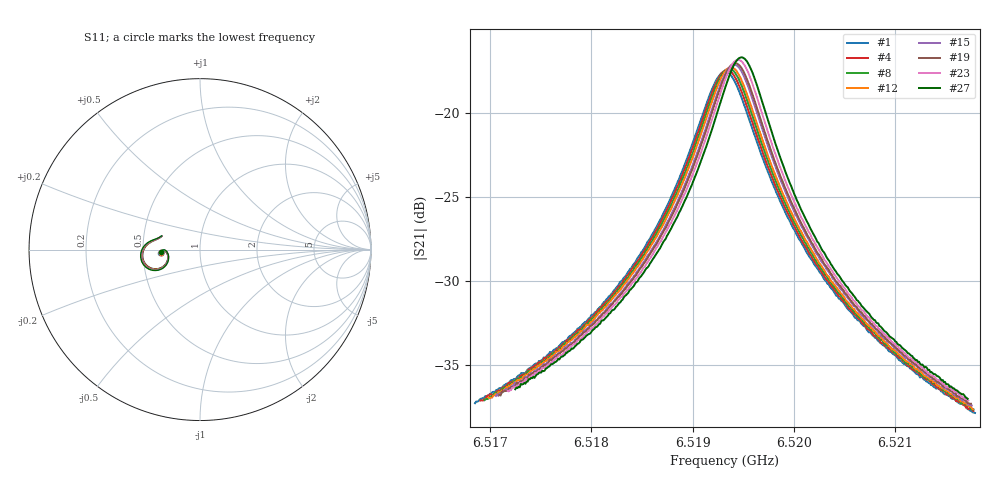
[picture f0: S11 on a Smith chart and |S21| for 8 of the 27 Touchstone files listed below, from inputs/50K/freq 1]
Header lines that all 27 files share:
#  HZ  S  RI  R  50.00
! Rohde & Schwarz Vector Network Analyzer
! Rohde-Schwarz,ZNB20-2Port,1311601062101988,3.16
! freq[Hz]  re:S11  im:S11  re:S21  im:S21  re:S12  im:S12  re:S22  im:S22
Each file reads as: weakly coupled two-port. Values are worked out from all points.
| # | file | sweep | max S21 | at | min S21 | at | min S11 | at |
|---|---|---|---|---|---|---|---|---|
| 1 | 169_1_48.0987_50.0329132_79887.078_.s2p | 6.516853 GHz to 6.521785 GHz | -17.55 dB | 6.519319 GHz | -37.9 dB | 6.521785 GHz | -14.3 dB | 6.518888 GHz |
| 2 | 170_1_48.1014_50.0360565_79337.766_.s2p | 6.516854 GHz to 6.521786 GHz | -17.54 dB | 6.51932 GHz | -37.9 dB | 6.521774 GHz | -14.3 dB | 6.518901 GHz |
| 3 | 181_1_48.101_50.0469627_72766.07_.s2p | 6.516886 GHz to 6.521778 GHz | -17.48 dB | 6.519332 GHz | -37.7 dB | 6.521754 GHz | -14.4 dB | 6.518904 GHz |
| 4 | 186_1_48.1004_50.0531044_69630.68_.s2p | 6.516907 GHz to 6.521769 GHz | -17.46 dB | 6.519338 GHz | -37.7 dB | 6.521769 GHz | -14.4 dB | 6.518912 GHz |
| 5 | 189_1_48.1019_50.0570412_67882.438_.s2p | 6.516908 GHz to 6.521774 GHz | -17.45 dB | 6.519341 GHz | -37.8 dB | 6.521774 GHz | -14.4 dB | 6.518916 GHz |
| 6 | 195_1_48.1_50.062851_64227.723_.s2p | 6.51692 GHz to 6.521777 GHz | -17.41 dB | 6.519349 GHz | -37.7 dB | 6.521777 GHz | -14.4 dB | 6.518936 GHz |
| 7 | 200_1_48.0977_50.0690041_61371.539_.s2p | 6.516939 GHz to 6.521772 GHz | -17.38 dB | 6.519355 GHz | -37.7 dB | 6.521772 GHz | -14.4 dB | 6.518908 GHz |
| 8 | 202_1_48.1014_50.0723381_60212.98_.s2p | 6.516947 GHz to 6.52177 GHz | -17.37 dB | 6.519358 GHz | -37.6 dB | 6.521758 GHz | -14.4 dB | 6.518948 GHz |
| 9 | 206_1_48.1053_50.0781021_57666.379_.s2p | 6.516953 GHz to 6.521774 GHz | -17.35 dB | 6.519363 GHz | -37.7 dB | 6.521774 GHz | -14.4 dB | 6.518929 GHz |
| 10 | 208_1_48.1005_50.0806808_56517.836_.s2p | 6.516958 GHz to 6.521774 GHz | -17.34 dB | 6.519366 GHz | -37.6 dB | 6.521762 GHz | -14.4 dB | 6.518945 GHz |
| 11 | 211_1_48.1058_50.0825424_54809.672_.s2p | 6.516967 GHz to 6.521773 GHz | -17.33 dB | 6.51937 GHz | -37.6 dB | 6.521749 GHz | -14.4 dB | 6.518937 GHz |
| 12 | 215_1_48.0964_50.0891418_52273.777_.s2p | 6.516986 GHz to 6.521765 GHz | -17.30 dB | 6.519375 GHz | -37.6 dB | 6.521765 GHz | -14.4 dB | 6.518969 GHz |
| 13 | 225_1_48.0986_50.1012421_46200.859_.s2p | 6.51701 GHz to 6.521765 GHz | -17.24 dB | 6.519388 GHz | -37.6 dB | 6.521765 GHz | -14.4 dB | 6.51896 GHz |
| 14 | 234_1_48.099_50.1133881_40798.293_.s2p | 6.517035 GHz to 6.521763 GHz | -17.19 dB | 6.519399 GHz | -37.5 dB | 6.521763 GHz | -14.4 dB | 6.518973 GHz |
| 15 | 241_1_48.1035_50.1202812_36812.961_.s2p | 6.51706 GHz to 6.521752 GHz | -17.13 dB | 6.519406 GHz | -37.4 dB | 6.521752 GHz | -14.4 dB | 6.518996 GHz |
| 16 | 243_1_48.1011_50.1242256_35384.988_.s2p | 6.517065 GHz to 6.521753 GHz | -17.12 dB | 6.519409 GHz | -37.4 dB | 6.521753 GHz | -14.4 dB | 6.518999 GHz |
| 17 | 246_1_48.1004_50.1271896_33657.945_.s2p | 6.517076 GHz to 6.52175 GHz | -17.10 dB | 6.519413 GHz | -37.4 dB | 6.52175 GHz | -14.4 dB | 6.51898 GHz |
| 18 | 248_1_48.1004_50.1303024_32498.848_.s2p | 6.517086 GHz to 6.521744 GHz | -17.08 dB | 6.519415 GHz | -37.3 dB | 6.521744 GHz | -14.5 dB | 6.518996 GHz |
| 19 | 252_1_48.0992_50.1336403_30252.295_.s2p | 6.517095 GHz to 6.521745 GHz | -17.05 dB | 6.51942 GHz | -37.3 dB | 6.521745 GHz | -14.5 dB | 6.519013 GHz |
| 20 | 254_1_48.0991_50.1354599_28804.451_.s2p | 6.517102 GHz to 6.521742 GHz | -17.03 dB | 6.519422 GHz | -37.4 dB | 6.52173 GHz | -14.5 dB | 6.519004 GHz |
| 21 | 262_1_48.102_50.1448555_24209.557_.s2p | 6.517129 GHz to 6.521734 GHz | -16.97 dB | 6.519431 GHz | -37.2 dB | 6.521722 GHz | -14.5 dB | 6.519005 GHz |
| 22 | 268_1_48.0985_50.1516266_20524.838_.s2p | 6.517149 GHz to 6.521729 GHz | -16.92 dB | 6.519439 GHz | -37.2 dB | 6.521729 GHz | -14.5 dB | 6.519027 GHz |
| 23 | 275_1_48.0963_50.1565247_16270.494_.s2p | 6.517175 GHz to 6.521719 GHz | -16.85 dB | 6.519447 GHz | -37.1 dB | 6.521719 GHz | -14.5 dB | 6.519049 GHz |
| 24 | 289_1_48.1007_50.1690788_7991.918_.s2p | 6.517229 GHz to 6.521696 GHz | -16.73 dB | 6.519452 GHz | -37.0 dB | 6.521696 GHz | -14.5 dB | 6.519038 GHz |
| 25 | 301_1_48.0993_50.1696091_819.905_.s2p | 6.517247 GHz to 6.521718 GHz | -16.72 dB | 6.519483 GHz | -37.0 dB | 6.521707 GHz | -14.5 dB | 6.519069 GHz |
| 26 | 305_1_48.0987_50.1700668_-0.346_.s2p | 6.517251 GHz to 6.521715 GHz | -16.71 dB | 6.519483 GHz | -36.9 dB | 6.521693 GHz | -14.5 dB | 6.51907 GHz |
| 27 | 307_1_48.1025_50.1699142_-0.346_.s2p | 6.51725 GHz to 6.521712 GHz | -16.70 dB | 6.519481 GHz | -37.0 dB | 6.521712 GHz | -14.5 dB | 6.51908 GHz |
